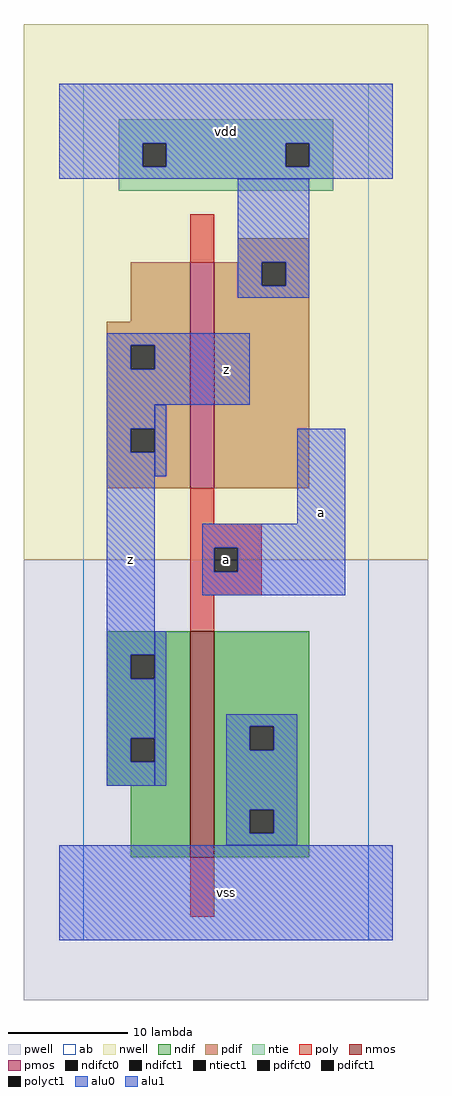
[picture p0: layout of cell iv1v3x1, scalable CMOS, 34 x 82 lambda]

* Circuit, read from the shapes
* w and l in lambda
.subckt iv1v3x1 a vdd vss z
M1 vss a z VSUBS nfet w=19 l=2
M2 vdd a z vdd pfet w=19 l=2
.ends

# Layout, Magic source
magic
tech scmos
<< ab >>
rect 0 0 24 72
<< nwell >>
rect -5 32 29 77
<< pwell >>
rect -5 -5 29 32
<< poly >>
rect 9 57 11 61
rect 9 35 11 38
rect 9 33 15 35
rect 9 31 11 33
rect 13 31 15 33
rect 9 29 15 31
rect 9 26 11 29
rect 9 2 11 7
<< ndif >>
rect 2 24 9 26
rect 2 22 4 24
rect 6 22 9 24
rect 2 17 9 22
rect 2 15 4 17
rect 6 15 9 17
rect 2 13 9 15
rect 4 7 9 13
rect 11 18 19 26
rect 11 16 14 18
rect 16 16 19 18
rect 11 11 19 16
rect 11 9 14 11
rect 16 9 19 11
rect 11 7 19 9
<< pdif >>
rect 13 57 19 59
rect 4 52 9 57
rect 2 50 9 52
rect 2 48 4 50
rect 6 48 9 50
rect 2 43 9 48
rect 2 41 4 43
rect 6 41 9 43
rect 2 38 9 41
rect 11 55 15 57
rect 17 55 19 57
rect 11 38 19 55
<< alu1 >>
rect -2 67 26 72
rect -2 65 5 67
rect 7 65 17 67
rect 19 65 26 67
rect -2 64 26 65
rect 2 50 14 51
rect 2 48 4 50
rect 6 48 14 50
rect 2 45 14 48
rect 2 43 6 45
rect 2 41 4 43
rect 2 24 6 41
rect 18 35 22 43
rect 10 33 22 35
rect 10 31 11 33
rect 13 31 22 33
rect 10 29 22 31
rect 2 22 4 24
rect 2 17 6 22
rect 2 15 4 17
rect 2 13 6 15
rect -2 0 26 8
<< ntie >>
rect 3 67 21 69
rect 3 65 5 67
rect 7 65 17 67
rect 19 65 21 67
rect 3 63 21 65
<< nmos >>
rect 9 7 11 26
<< pmos >>
rect 9 38 11 57
<< polyct1 >>
rect 11 31 13 33
<< ndifct0 >>
rect 14 16 16 18
rect 14 9 16 11
<< ndifct1 >>
rect 4 22 6 24
rect 4 15 6 17
<< ntiect1 >>
rect 5 65 7 67
rect 17 65 19 67
<< pdifct0 >>
rect 15 55 17 57
<< pdifct1 >>
rect 4 48 6 50
rect 4 41 6 43
<< alu0 >>
rect 13 57 19 64
rect 13 55 15 57
rect 17 55 19 57
rect 13 54 19 55
rect 6 39 7 45
rect 6 13 7 26
rect 12 18 18 19
rect 12 16 14 18
rect 16 16 18 18
rect 12 11 18 16
rect 12 9 14 11
rect 16 9 18 11
rect 12 8 18 9
<< labels >>
rlabel alu1 4 32 4 32 6 z
rlabel alu1 12 4 12 4 6 vss
rlabel polyct1 12 32 12 32 6 a
rlabel alu1 12 48 12 48 6 z
rlabel alu1 12 68 12 68 6 vdd
rlabel alu1 20 36 20 36 6 a
<< end >>
